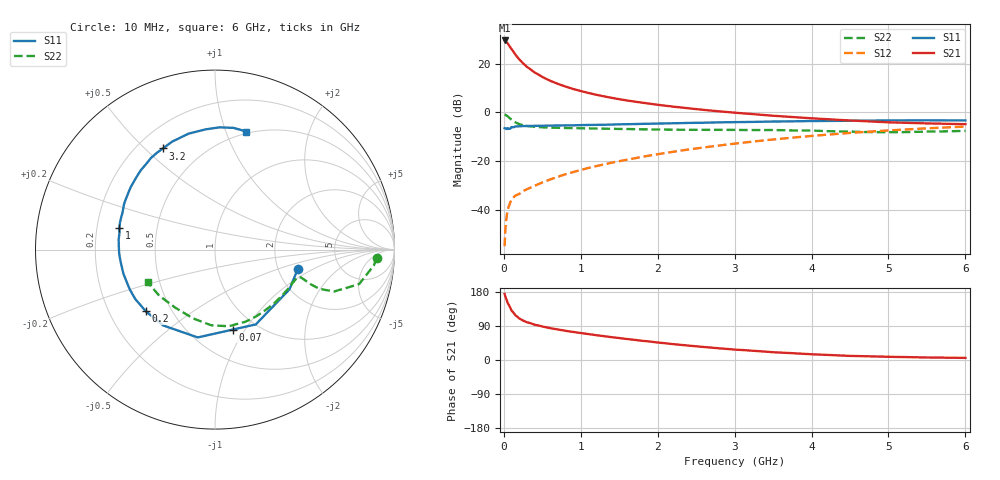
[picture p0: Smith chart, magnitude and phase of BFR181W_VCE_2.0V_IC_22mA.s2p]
! Infineon Technologies  Discrete & RF Semiconductors
! BFR181W
! VCE =  2.0 V,  IC =  22 mA
! Common Emitter S-Parameters:  Jan 2017
# GHz  S  MA  R  50
!  f  S11  S21  S12  S22
! GHz  MAG  ANG  MAG  ANG  MAG  ANG  MAG  ANG
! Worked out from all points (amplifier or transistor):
!   77 points, 10 MHz to 6 GHz, reference 50 ohm
!   highest |S21| = 29.5 dB at 10 MHz (marker M1)
!   |S21| within 3 dB of that: start of sweep to 88.09 MHz
!   unconditionally stable (mu >= 1): start of sweep to 13.13 MHz; 283.9 MHz to 3.137 GHz; 4.895 GHz to end of sweep
!   at 130 MHz: K = 0.62, MSG = 29.7 dB, |S12| = -34.8 dB
!   at 2.2 GHz: K = 1.15, MAG = 6.9 dB, |S12| = -16.2 dB
!   at 6 GHz: K = 1.05, MAG = -0.9 dB, |S12| = -5.8 dB
!   S11 on the Smith chart (normalised r, x): 10 MHz: 2.58, -0.71; 70 MHz: 0.78, -0.88; 200 MHz: 0.36, -0.34; 1 GHz: 0.30, +0.10; 3.2 GHz: 0.30, +0.57; 6 GHz: 0.48, +1.18
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0.01  0.474 -13.0  29.72 174.3  0.0018 85.9  0.9018 -2.8
0.02  0.4704 -28.1  29.23 167.2  0.004 83.5  0.8897 -5.7
0.05  0.4748 -61.4  25.97 150.4  0.01 70.4  0.8262 -13.4
0.07  0.4565 -77.6  23.19 143.6  0.0124 63.6  0.7761 -15.6
0.1  0.4987 -101.1  19.85 130.2  0.0163 57.3  0.7034 -19.4
0.15  0.5117 -124.3  15.29 118.1  0.0196 53.8  0.6215 -20.6
0.2  0.5165 -138.3  12.19 109.8  0.0212 54.5  0.5728 -20.0
0.25  0.5226 -148.2  10.09 104.0  0.0243 56.6  0.5442 -19.3
0.3  0.5242 -155.2  8.557 99.7  0.0264 57.2  0.5246 -18.6
0.4  0.5276 -165.1  6.569 93.2  0.0311 61.5  0.5041 -18.0
0.5  0.5299 -172.0  5.302 88.4  0.0364 64.1  0.4927 -18.1
0.6  0.5344 -177.5  4.455 84.2  0.0419 67.1  0.4862 -18.6
0.7  0.5361 178.1  3.839 80.6  0.0474 70.3  0.4814 -19.4
1  0.5464 167.2  2.73 71.2  0.0656 74.0  0.4696 -23.4
1.1  0.5503 164.2  2.491 68.4  0.0723 75.1  0.4684 -25.0
1.5  0.5666 153.4  1.858 57.9  0.0994 76.4  0.4557 -32.1
2.1  0.5912 139.3  1.366 44.1  0.1464 75.8  0.4418 -45.4
3.1  0.631 119.2  0.955 26.3  0.2373 69.4  0.4338 -70.3
3.2  0.634 117.3  0.928 24.9  0.2471 68.5  0.4327 -72.6
4.1  0.6633 101.1  0.738 14.3  0.3374 59.2  0.4162 -95.6
5.1  0.6819 86.5  0.617 8.1  0.4333 47.0  0.3917 -127.7
6  0.6807 75.1  0.571 5.6  0.5103 35.7  0.4172 -154.0
